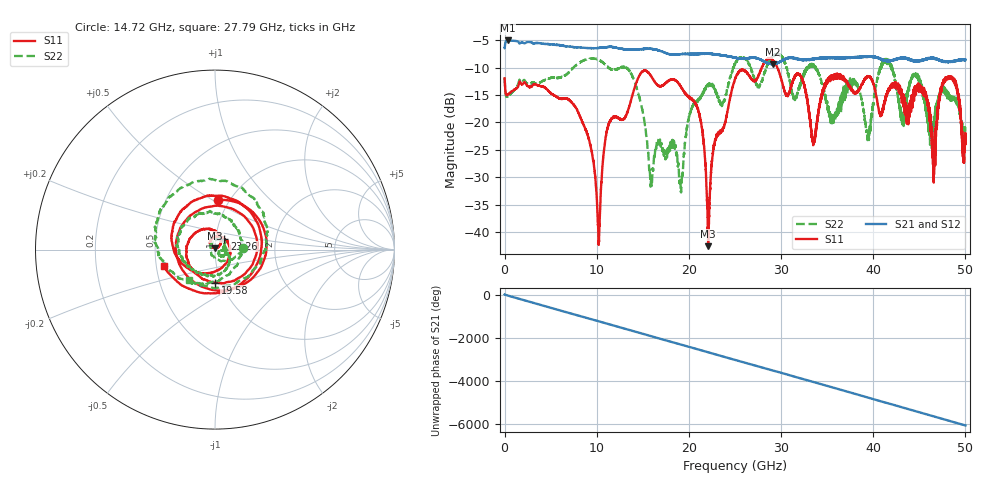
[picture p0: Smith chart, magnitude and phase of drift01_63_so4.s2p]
!Created with skrf (http://scikit-rf.org).
# Hz S RI R 50.0
!freq ReS11 ImS11 ReS21 ImS21 ReS12 ImS12 ReS22 ImS22
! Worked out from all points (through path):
!   10001 points, 300 kHz to 50 GHz, reference 50 ohm
!   highest |S21| = -5.05 dB at 325.3 MHz (marker M1); lowest = -9.4 dB at 29.08 GHz (marker M2)
!   group delay of S21, straight-line fit = 336 ps
!   lowest |S11| = -42.6 dB at 22.09 GHz (marker M3), VSWR 1.01, Z = 50 + j0.741 ohm
!   |S11| at or under -10 dB: start of sweep to 27.9 GHz; 29.5932 GHz to 29.60001 GHz (6.807 MHz wide, 0.023 % of centre); 29.6 GHz to end of sweep
!   |S22| runs from -32.8 to -7.5 dB; largest |S21 - S12| = 0.013
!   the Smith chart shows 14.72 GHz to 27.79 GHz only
!   S11 on the Smith chart (normalised r, x): 14.72 GHz: 0.89, +0.53; 19.58 GHz: 0.93, -0.36; 23.26 GHz: 1.10, +0.14; 27.79 GHz: 0.55, -0.11
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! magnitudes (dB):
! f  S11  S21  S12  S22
! 300 kHz  -12.0  -6.5  -6.5  -11.9
! 325.3 MHz  -15.0  -5.1  -5.1  -15.3
! 8.335 GHz  -19.5  -6.3  -6.4  -8.9
! 10.21 GHz  -41.6  -6.4  -6.4  -8.6
! 11.23 GHz  -20.6  -6.2  -6.3  -9.9
! 14.72 GHz  -11.2  -6.7  -6.6  -16.1
! 15.88 GHz  -11.5  -6.6  -6.6  -30.6
! 16.67 GHz  -13.3  -6.9  -6.9  -23.2
! 19.58 GHz  -14.7  -7.5  -7.5  -23.6
! 21.23 GHz  -19.4  -7.5  -7.5  -15.5
! 22.09 GHz  -42.6  -7.5  -7.5  -13.3
! 23.26 GHz  -21.9  -7.7  -7.7  -16.2
! 25 GHz  -12.1  -8.2  -8.2  -9.4
! 27.79 GHz  -10.5  -8.6  -8.6  -13.1
! 29.08 GHz  -8.6  -9.4  -9.4  -8.1
! 33.34 GHz  -22.7  -8.5  -8.4  -9.7
! 39.46 GHz  -11.6  -8.0  -8.0  -22.0
! 41.67 GHz  -13.8  -8.7  -8.8  -9.5
! 45.44 GHz  -14.7  -8.6  -8.6  -15.0
! 46.56 GHz  -28.5  -8.4  -8.3  -21.1
! 48.56 GHz  -12.1  -8.8  -8.9  -15.7
! 50 GHz  -23.9  -8.6  -8.6  -23.0
